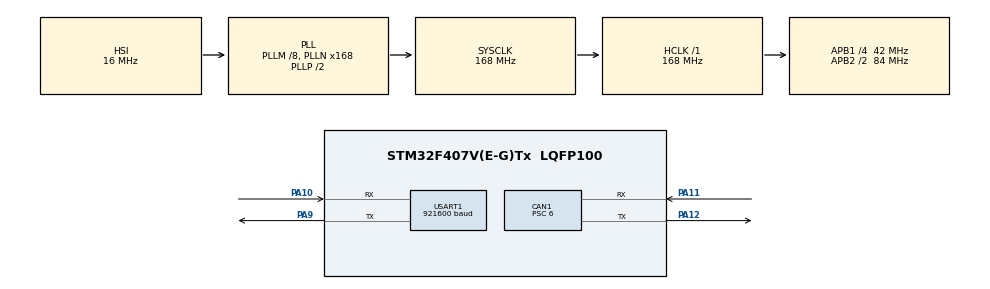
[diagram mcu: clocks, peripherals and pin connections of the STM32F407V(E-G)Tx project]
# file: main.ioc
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CAN1.BS1=CAN_BS1_11TQ
CAN1.BS2=CAN_BS2_2TQ
CAN1.CalculateBaudRate=500000
CAN1.CalculateTimeBit=2000
CAN1.CalculateTimeQuantum=142.85714285714286
CAN1.Prescaler=6
Mcu.Family=STM32F4
Mcu.Name=STM32F407V(E-G)Tx
Mcu.Package=LQFP100
NVIC.CAN1_RX0_IRQn=true\:0\:0\:false\:false\:true\:true\:true\:true
NVIC.PriorityGroup=NVIC_PRIORITYGROUP_4
NVIC.USART1_IRQn=true\:0\:0\:false\:false\:true\:true\:true\:true
PA10.Mode=Asynchronous
PA10.Signal=USART1_RX
PA11.Mode=CAN_Activate
PA11.Signal=CAN1_RX
PA12.Mode=CAN_Activate
PA12.Signal=CAN1_TX
PA13.Mode=Serial_Wire
PA13.Signal=SYS_JTMS-SWDIO
PA14.Mode=Serial_Wire
PA14.Signal=SYS_JTCK-SWCLK
PA9.Mode=Asynchronous
PA9.Signal=USART1_TX
PH0-OSC_IN.Mode=HSE-External-Oscillator
PH0-OSC_IN.Signal=RCC_OSC_IN
PH1-OSC_OUT.Mode=HSE-External-Oscillator
PH1-OSC_OUT.Signal=RCC_OSC_OUT
ProjectManager.HeapSize=0x200
ProjectManager.StackSize=0x400
ProjectManager.TargetToolchain=STM32CubeIDE
RCC.48MHZClocksFreq_Value=84000000
RCC.AHBFreq_Value=168000000
RCC.APB1CLKDivider=RCC_HCLK_DIV4
RCC.APB1Freq_Value=42000000
RCC.APB1TimFreq_Value=84000000
RCC.APB2CLKDivider=RCC_HCLK_DIV2
RCC.APB2Freq_Value=84000000
RCC.APB2TimFreq_Value=168000000
RCC.CortexFreq_Value=168000000
RCC.HCLKFreq_Value=168000000
RCC.HSE_VALUE=25000000
RCC.HSI_VALUE=16000000
RCC.LSE_VALUE=32768
RCC.PLLM=8
RCC.PLLN=168
RCC.SYSCLKFreq_VALUE=168000000
RCC.SYSCLKSource=RCC_SYSCLKSOURCE_PLLCLK
RCC.VCOOutputFreq_Value=336000000
USART1.BaudRate=921600
USART1.VirtualMode=VM_ASYNC
board=custom

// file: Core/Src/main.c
/* USER CODE BEGIN Header */
/**
  ******************************************************************************
  * @file           : main.c
  * @brief          : Main program body
  ******************************************************************************
  * @attention
  *
  * Copyright (c) 2026 STMicroelectronics.
  * All rights reserved.
  *
  * This software is licensed under terms that can be found in the LICENSE file
  * in the root directory of this software component.
  * If no LICENSE file comes with this software, it is provided AS-IS.
  *
  ******************************************************************************
  */
/* USER CODE END Header */
#include "main.h"

CAN_HandleTypeDef hcan1;

UART_HandleTypeDef huart1;

/* USER CODE BEGIN PV */
CAN_TxHeaderTypeDef TxHeader;
CAN_RxHeaderTypeDef RxHeader;
IWDG_HandleTypeDef  hiwdg;
uint32_t TxMailbox;
uint8_t RxData[8];

// UART RX State Machine Variables
uint8_t uart_rx_byte;
uint8_t rx_state = 0;
uint8_t rx_can_id_high = 0;
uint8_t rx_can_id_low  = 0;
uint8_t expected_length = 0;
uint8_t payload_buffer[8];
uint8_t payload_idx = 0;
uint8_t checksum_calc = 0;

// CAN→UART ring buffer — 8 slots of 13 bytes each.
// Prevents buffer corruption when a second CAN frame arrives before
// HAL_UART_Transmit_IT (async) has finished sending the first.
#define TX_RING_SLOTS 8
static uint8_t          uart_tx_ring[TX_RING_SLOTS][13];
static uint8_t          uart_tx_ring_len[TX_RING_SLOTS];
static volatile uint8_t tx_wr   = 0;
static volatile uint8_t tx_rd   = 0;
static volatile uint8_t tx_busy = 0;
/* USER CODE END PV */

void SystemClock_Config(void);
static void MX_GPIO_Init(void);
static void MX_CAN1_Init(void);
static void MX_USART1_UART_Init(void);

int main(void)
{

  /* MCU Configuration--------------------------------------------------------*/

  /* Reset of all peripherals, Initializes the Flash interface and the Systick. */
  HAL_Init();

  /* Configure the system clock */
  SystemClock_Config();

  /* Initialize all configured peripherals */
  MX_GPIO_Init();
  MX_CAN1_Init();
  MX_USART1_UART_Init();
  /* USER CODE BEGIN 2 */
  // 1. Configure CAN Filter to accept ALL messages (Monitor Mode)
  CAN_FilterTypeDef canfilterconfig;
  canfilterconfig.FilterActivation = CAN_FILTER_ENABLE;
  canfilterconfig.FilterBank = 0;
  canfilterconfig.FilterFIFOAssignment = CAN_RX_FIFO0;
  canfilterconfig.FilterIdHigh = 0x0000;
  canfilterconfig.FilterIdLow = 0x0000;
  canfilterconfig.FilterMaskIdHigh = 0x0000;
  canfilterconfig.FilterMaskIdLow = 0x0000;
  canfilterconfig.FilterMode = CAN_FILTERMODE_IDMASK;
  canfilterconfig.FilterScale = CAN_FILTERSCALE_32BIT;
  HAL_CAN_ConfigFilter(&hcan1, &canfilterconfig);

  // 2. Start the CAN peripheral
  HAL_CAN_Start(&hcan1);

  // 3. Enable CAN RX and error interrupts (bus-off recovery via HAL_CAN_ErrorCallback)
  HAL_CAN_ActivateNotification(&hcan1, CAN_IT_RX_FIFO0_MSG_PENDING
                                     | CAN_IT_ERROR
                                     | CAN_IT_BUSOFF
                                     | CAN_IT_LAST_ERROR_CODE);

  // 4. Start listening to the FT232H via UART (1 byte at a time)
  HAL_UART_Receive_IT(&huart1, &uart_rx_byte, 1);

  // 5. IWDG: ~2 s watchdog (LSI ~32 kHz, prescaler 32 → 1 kHz tick, reload 2000)
  hiwdg.Instance       = IWDG;
  hiwdg.Init.Prescaler = IWDG_PRESCALER_32;
  hiwdg.Init.Reload    = 2000;
  HAL_IWDG_Init(&hiwdg);
  /* USER CODE END 2 */

  /* Infinite loop */
  while (1)
  {

    /* USER CODE BEGIN 3 */
    HAL_IWDG_Refresh(&hiwdg);
    HAL_Delay(200);
  }
  /* USER CODE END 3 */
}

void SystemClock_Config(void)
{
  RCC_OscInitTypeDef RCC_OscInitStruct = {0};
  RCC_ClkInitTypeDef RCC_ClkInitStruct = {0};

  /** Configure the main internal regulator output voltage
  */
  __HAL_RCC_PWR_CLK_ENABLE();
  __HAL_PWR_VOLTAGESCALING_CONFIG(PWR_REGULATOR_VOLTAGE_SCALE1);

  /** Initializes the RCC Oscillators according to the specified parameters
  * in the RCC_OscInitTypeDef structure.
  */
  RCC_OscInitStruct.OscillatorType = RCC_OSCILLATORTYPE_HSI;
  RCC_OscInitStruct.HSIState = RCC_HSI_ON;
  RCC_OscInitStruct.HSICalibrationValue = RCC_HSICALIBRATION_DEFAULT;
  RCC_OscInitStruct.PLL.PLLState = RCC_PLL_ON;
  RCC_OscInitStruct.PLL.PLLSource = RCC_PLLSOURCE_HSI;
  RCC_OscInitStruct.PLL.PLLM = 8;
  RCC_OscInitStruct.PLL.PLLN = 168;
  RCC_OscInitStruct.PLL.PLLP = RCC_PLLP_DIV2;
  RCC_OscInitStruct.PLL.PLLQ = 4;
  if (HAL_RCC_OscConfig(&RCC_OscInitStruct) != HAL_OK)
  {
    Error_Handler();
  }

  /** Initializes the CPU, AHB and APB buses clocks
  */
  RCC_ClkInitStruct.ClockType = RCC_CLOCKTYPE_HCLK|RCC_CLOCKTYPE_SYSCLK
                              |RCC_CLOCKTYPE_PCLK1|RCC_CLOCKTYPE_PCLK2;
  RCC_ClkInitStruct.SYSCLKSource = RCC_SYSCLKSOURCE_PLLCLK;
  RCC_ClkInitStruct.AHBCLKDivider = RCC_SYSCLK_DIV1;
  RCC_ClkInitStruct.APB1CLKDivider = RCC_HCLK_DIV4;
  RCC_ClkInitStruct.APB2CLKDivider = RCC_HCLK_DIV2;

  if (HAL_RCC_ClockConfig(&RCC_ClkInitStruct, FLASH_LATENCY_5) != HAL_OK)
  {
    Error_Handler();
  }
}

static void MX_CAN1_Init(void)
{

  hcan1.Instance = CAN1;
  hcan1.Init.Prescaler = 6;
  hcan1.Init.Mode = CAN_MODE_NORMAL;
  hcan1.Init.SyncJumpWidth = CAN_SJW_1TQ;
  hcan1.Init.TimeSeg1 = CAN_BS1_11TQ;
  hcan1.Init.TimeSeg2 = CAN_BS2_2TQ;
  hcan1.Init.TimeTriggeredMode = DISABLE;
  hcan1.Init.AutoBusOff = DISABLE;
  hcan1.Init.AutoWakeUp = DISABLE;
  hcan1.Init.AutoRetransmission = DISABLE;
  hcan1.Init.ReceiveFifoLocked = DISABLE;
  hcan1.Init.TransmitFifoPriority = DISABLE;
  if (HAL_CAN_Init(&hcan1) != HAL_OK)
  {
    Error_Handler();
  }

}

static void MX_USART1_UART_Init(void)
{

  huart1.Instance = USART1;
  huart1.Init.BaudRate = 921600;
  huart1.Init.WordLength = UART_WORDLENGTH_8B;
  huart1.Init.StopBits = UART_STOPBITS_1;
  huart1.Init.Parity = UART_PARITY_NONE;
  huart1.Init.Mode = UART_MODE_TX_RX;
  huart1.Init.HwFlowCtl = UART_HWCONTROL_NONE;
  huart1.Init.OverSampling = UART_OVERSAMPLING_16;
  if (HAL_UART_Init(&huart1) != HAL_OK)
  {
    Error_Handler();
  }

}

static void MX_GPIO_Init(void)
{

  /* GPIO Ports Clock Enable */
  __HAL_RCC_GPIOH_CLK_ENABLE();
  __HAL_RCC_GPIOA_CLK_ENABLE();

}

/* USER CODE BEGIN 4 */

// Callback: Triggered when the STM32 receives a byte from the FT232H (Windows)
//
// Packet format (PC -> STM32):
//   [0xAA]  Header
//   [0x01]  Command: Transmit a CAN frame
//   [ID_H]  CAN ID high byte (bits 10-8)
//   [ID_L]  CAN ID low byte  (bits 7-0)
//   [LEN]   Data length (0-8 bytes)
//   [D0..n] CAN payload bytes
//   [XOR]   Checksum = ID_H ^ ID_L ^ D0 ^ ... ^ Dn
//
// State machine:
//   0 -> Wait for 0xAA header
//   1 -> Expect 0x01 command byte
//   2 -> Read CAN ID high byte, begin checksum
//   3 -> Read CAN ID low byte,  accumulate checksum
//   4 -> Read payload length
//   5 -> Read payload bytes,    accumulate checksum
//   6 -> Verify checksum and fire CAN message
void HAL_UART_RxCpltCallback(UART_HandleTypeDef *huart)
{
    if (huart->Instance == USART1)
    {
        switch (rx_state)
        {
            case 0: // Wait for Header 0xAA
                if (uart_rx_byte == 0xAA) rx_state = 1;
                break;
            case 1: // Check Command (0x01 = TX CAN)
                if (uart_rx_byte == 0x01) rx_state = 2;
                else rx_state = 0;
                break;
            case 2: // Get CAN ID High byte — start checksum here
                rx_can_id_high = uart_rx_byte;
                checksum_calc  = uart_rx_byte; // XOR accumulator starts with ID_H
                rx_state = 3;
                break;
            case 3: // Get CAN ID Low byte
                rx_can_id_low  = uart_rx_byte;
                checksum_calc ^= uart_rx_byte;
                rx_state = 4;
                break;
            case 4: // Get Length
                expected_length = uart_rx_byte;
                if (expected_length > 8) rx_state = 0;
                else {
                    payload_idx = 0;
                    // checksum_calc retains ID_H ^ ID_L accumulated in cases 2-3
                    if (expected_length == 0) rx_state = 6;
                    else rx_state = 5;
                }
                break;
            case 5: // Read Payload
                payload_buffer[payload_idx++] = uart_rx_byte;
                checksum_calc ^= uart_rx_byte;
                if (payload_idx >= expected_length) rx_state = 6;
                break;
            case 6: // Verify Checksum and Fire CAN Message
                if (uart_rx_byte == checksum_calc)
                {
                    // Reconstruct the CAN ID from the two bytes received from the DLL
                    uint16_t can_id = ((uint16_t)rx_can_id_high << 8) | rx_can_id_low;

                    TxHeader.StdId = can_id;
                    TxHeader.ExtId = 0x00;
                    TxHeader.RTR = CAN_RTR_DATA;
                    TxHeader.IDE = CAN_ID_STD;
                    TxHeader.DLC = expected_length;
                    TxHeader.TransmitGlobalTime = DISABLE;

                    // Blast it to the vehicle
                    HAL_CAN_AddTxMessage(&hcan1, &TxHeader, payload_buffer, &TxMailbox);
                }
                rx_state = 0; // Reset for next frame (whether checksum passed or failed)
                break;
        }
        // Re-arm the UART interrupt to listen for the next byte
        HAL_UART_Receive_IT(&huart1, &uart_rx_byte, 1);
    }
}

// Callback: CAN frame received from vehicle → queue into ring buffer → send to PC
//
// Packet format (STM32 -> PC):
//   [0xBB] [LEN] [ID_H] [ID_L] [D0..Dn] [XOR]
//   XOR = ID_H ^ ID_L ^ D0 ^ ... ^ Dn
//
// Ring buffer (TX_RING_SLOTS slots) prevents overwrite when a second CAN frame
// arrives before HAL_UART_Transmit_IT has finished sending the first.
void HAL_CAN_RxFifo0MsgPendingCallback(CAN_HandleTypeDef *hcan)
{
    if (hcan->Instance == CAN1)
    {
        HAL_CAN_GetRxMessage(hcan, CAN_RX_FIFO0, &RxHeader, RxData);

        uint8_t next_wr = (tx_wr + 1) % TX_RING_SLOTS;
        if (next_wr == tx_rd) return; // ring full — drop frame rather than corrupt

        uint8_t *buf = uart_tx_ring[tx_wr];
        buf[0] = 0xBB;
        buf[1] = RxHeader.DLC;
        buf[2] = (RxHeader.StdId >> 8) & 0xFF;
        buf[3] =  RxHeader.StdId       & 0xFF;

        uint8_t xor_val = buf[2] ^ buf[3];
        for (int i = 0; i < RxHeader.DLC; i++)
        {
            buf[4 + i] = RxData[i];
            xor_val   ^= RxData[i];
        }
        buf[4 + RxHeader.DLC]      = xor_val;
        uart_tx_ring_len[tx_wr]    = 5 + RxHeader.DLC;
        tx_wr = next_wr;

        if (!tx_busy)
        {
            tx_busy = 1;
            HAL_UART_Transmit_IT(&huart1, uart_tx_ring[tx_rd], uart_tx_ring_len[tx_rd]);
        }
    }
}

// Callback: UART TX complete — advance ring buffer and send next frame if queued
void HAL_UART_TxCpltCallback(UART_HandleTypeDef *huart)
{
    if (huart->Instance == USART1)
    {
        tx_rd = (tx_rd + 1) % TX_RING_SLOTS;
        if (tx_rd != tx_wr)
            HAL_UART_Transmit_IT(&huart1, uart_tx_ring[tx_rd], uart_tx_ring_len[tx_rd]);
        else
            tx_busy = 0;
    }
}

// Callback: CAN peripheral error — recover from bus-off by restarting CAN
void HAL_CAN_ErrorCallback(CAN_HandleTypeDef *hcan)
{
    if (hcan->Instance == CAN1)
    {
        if (hcan->ErrorCode & HAL_CAN_ERROR_BOF)
        {
            HAL_CAN_Stop(hcan);
            HAL_CAN_Start(hcan);
            HAL_CAN_ActivateNotification(hcan, CAN_IT_RX_FIFO0_MSG_PENDING
                                             | CAN_IT_ERROR
                                             | CAN_IT_BUSOFF
                                             | CAN_IT_LAST_ERROR_CODE);
        }
    }
}
/* USER CODE END 4 */

void Error_Handler(void)
{
  __disable_irq();
  while (1)
  {
  }
}
